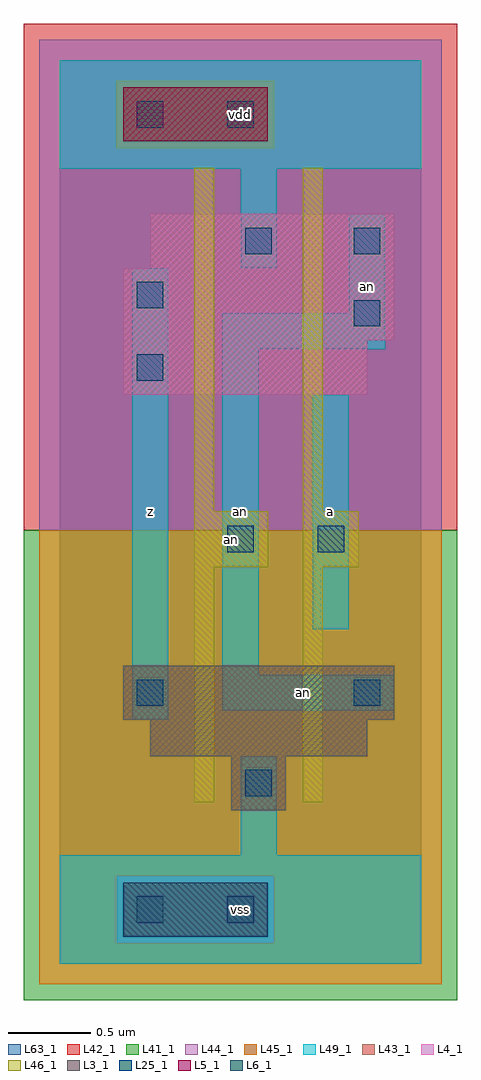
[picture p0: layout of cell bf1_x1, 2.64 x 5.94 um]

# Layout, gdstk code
import gdstk
lib = gdstk.Library(unit=1e-6, precision=1e-09)
def R(c, l, rs):  # rectangles x0, y0, x1, y1
    for r in rs: c.add(gdstk.rectangle(r[:2], r[2:], *l))
L3_1 = (3, 1)
L4_1 = (4, 1)
L5_1 = (5, 1)
L6_1 = (6, 1)
L25_1 = (25, 1)
L41_1 = (41, 1)
L42_1 = (42, 1)
L43_1 = (43, 1)
L44_1 = (44, 1)
L45_1 = (45, 1)
L46_1 = (46, 1)
L49_1 = (49, 1)
L63_1 = (63, 1)

bf1_x1 = lib.new_cell('bf1_x1')
R(bf1_x1, L3_1, [(1.045,0.935,1.375,1.265), (0.55,1.265,1.87,1.485), (0.385,1.485,2.035,1.815)])
R(bf1_x1, L4_1, [(0.385,3.465,1.87,3.795), (0.385,3.795,2.035,4.235), (0.55,4.235,2.035,4.565)])
R(bf1_x1, L5_1, [(0.385,5.005,1.265,5.335)])
R(bf1_x1, L6_1, [(0.385,0.165,1.265,0.495)])
R(bf1_x1, L25_1, [(0.47,0.25,0.63,0.41), (1.02,0.25,1.18,0.41), (1.13,1.02,1.29,1.18), (0.47,1.57,0.63,1.73), (1.79,1.57,1.95,1.73), (1.02,2.505,1.18,2.665), (1.57,2.505,1.73,2.665), (0.47,3.55,0.63,3.71), (1.79,3.88,1.95,4.04), (0.47,3.99,0.63,4.15), (1.13,4.32,1.29,4.48), (1.79,4.32,1.95,4.48), (0.47,5.09,0.63,5.25), (1.02,5.09,1.18,5.25)])
R(bf1_x1, L41_1, [(-0.22,-0.22,2.42,2.64)])
R(bf1_x1, L42_1, [(-0.22,2.64,2.42,5.72)])
R(bf1_x1, L43_1, [(0.385,0.165,1.265,0.495), (1.045,0.935,1.375,1.265), (0.55,1.265,1.87,1.485), (0.385,1.485,2.035,1.815), (0.385,3.465,1.87,3.795), (0.385,3.795,2.035,4.235), (0.55,4.235,2.035,4.565), (0.385,5.005,1.265,5.335)])
R(bf1_x1, L44_1, [(0.345,0.125,1.305,0.535), (-0.125,2.64,2.325,4.965), (-0.125,4.965,0.345,5.375), (1.305,4.965,2.325,5.375), (-0.125,5.375,2.325,5.625)])
R(bf1_x1, L45_1, [(-0.125,-0.125,2.325,0.125), (-0.125,0.125,0.345,0.535), (1.305,0.125,2.325,0.535), (-0.125,0.535,2.325,2.64), (0.345,4.965,1.305,5.375)])
R(bf1_x1, L46_1, [(0.82,0.985,0.94,2.415), (1.48,0.985,1.6,2.415), (0.82,2.415,1.27,2.755), (1.48,2.415,1.82,2.755), (0.82,2.755,0.94,4.845), (1.48,2.755,1.6,4.845)])
R(bf1_x1, L49_1, [(0,0,2.2,0.66), (1.1,0.66,1.32,1.265), (0.44,1.485,0.66,4.235), (0.99,1.54,2.035,1.76), (0.99,1.76,1.21,3.74), (1.54,2.035,1.76,3.465), (0.99,3.74,1.98,3.96), (1.76,3.96,1.98,4.565), (1.1,4.235,1.32,4.84), (0,4.84,2.2,5.5)])
R(bf1_x1, L63_1, [(0,0,2.2,5.5)])
bf1_x1.add(gdstk.Label('an', (1.045,2.585), layer=49, texttype=1))
bf1_x1.add(gdstk.Label('z', (0.55,2.75), layer=49, texttype=1))
bf1_x1.add(gdstk.Label('vss', (1.1,0.33), layer=49, texttype=1))
bf1_x1.add(gdstk.Label('an', (1.1,2.75), layer=49, texttype=1))
bf1_x1.add(gdstk.Label('vdd', (1.1,5.17), layer=49, texttype=1))
bf1_x1.add(gdstk.Label('an', (1.485,1.65), layer=49, texttype=1))
bf1_x1.add(gdstk.Label('a', (1.65,2.75), layer=49, texttype=1))
bf1_x1.add(gdstk.Label('an', (1.87,4.125), layer=49, texttype=1))

lib.write_gds('bf1_x1.gds')
